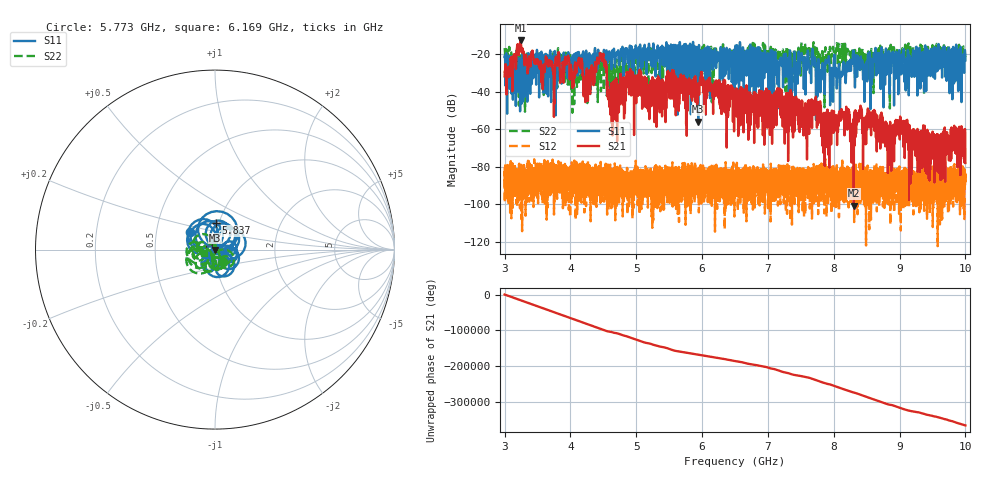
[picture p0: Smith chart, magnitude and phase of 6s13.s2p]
!Agilent Technologies,E8363B,MY43030572,A.06.04.32
!Agilent E8363B: A.06.04.32
!Date: Tuesday, June 07, 2011 08:30:34
!Correction: S11(Full 2 Port(1,2)) S21(Full 2 Port(1,2)) S12(Full 2 Port(1,2)) S22(Full 2 Port(1,2))
!S2P File: Measurements: S11, S21, S12, S22:
# Hz S  dB  R 50
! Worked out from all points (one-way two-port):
!   6401 points, 3 GHz to 10 GHz, reference 50 ohm
!   highest |S21| = -12.60 dB at 3.242 GHz (marker M1); lowest = -100.7 dB at 8.305 GHz (marker M2)
!   lowest |S11| = -56.0 dB at 5.941 GHz (marker M3), VSWR 1.00, Z = 50 - j0.156 ohm
!   |S11| at or under -10 dB: start of sweep to end of sweep
!   |S22| runs from -51.2 to -13.6 dB; largest |S21 - S12| = 0.23
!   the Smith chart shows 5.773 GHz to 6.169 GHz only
!   S11 on the Smith chart (normalised r, x): 5.773 GHz: 0.74, +0.15; 5.837 GHz: 0.96, +0.30; 6.169 GHz: 0.90, -0.05
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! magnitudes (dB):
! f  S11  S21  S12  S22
! 3 GHz  -21.4  -31.8  -87.3  -16.7
! 3.242 GHz  -25.1  -12.6  -79.5  -32.6
! 3.586 GHz  -27.1  -28.6  -82.2  -22.5
! 4.167 GHz  -21.3  -23.4  -88.4  -25.6
! 4.232 GHz  -21.9  -34.6  -85.3  -33.6
! 4.477 GHz  -22.6  -21.1  -89.0  -23.8
! 4.606 GHz  -22.4  -43.5  -97.2  -25.1
! 4.886 GHz  -23.1  -32.0  -91.8  -28.0
! 5.334 GHz  -19.5  -32.7  -84.7  -26.8
! 5.773 GHz  -15.4  -35.7  -92.0  -21.5
! 5.837 GHz  -16.5  -39.0  -86.3  -26.7
! 5.941 GHz  -56.0  -38.2  -97.0  -28.5
! 6.169 GHz  -24.8  -43.5  -96.6  -24.0
! 6.5 GHz  -18.6  -42.9  -82.4  -22.4
! 7.667 GHz  -19.3  -48.6  -82.0  -16.7
! 7.967 GHz  -27.7  -60.8  -98.3  -19.8
! 8.202 GHz  -24.6  -51.1  -85.1  -17.7
! 8.305 GHz  -19.4  -100.7  -81.3  -18.6
! 8.394 GHz  -26.0  -50.7  -84.6  -17.9
! 8.834 GHz  -19.1  -59.6  -100.1  -20.2
! 9.929 GHz  -16.2  -60.6  -80.4  -23.4
! 10 GHz  -23.2  -78.0  -84.1  -21.2
